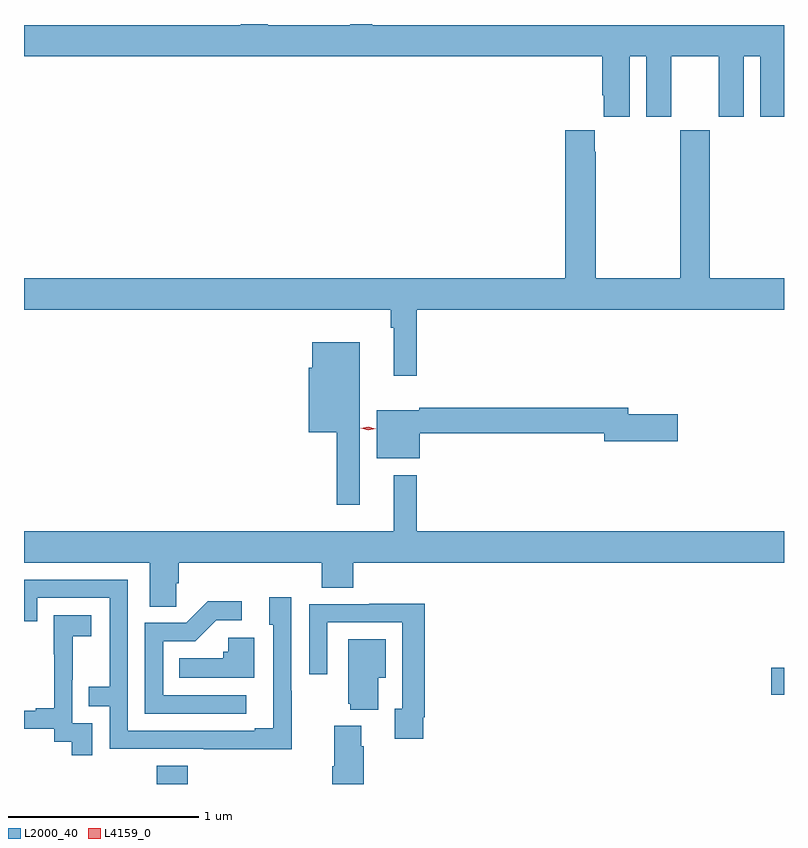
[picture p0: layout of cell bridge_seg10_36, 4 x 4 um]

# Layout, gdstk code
import gdstk
lib = gdstk.Library(unit=1e-6, precision=1e-09)
def R(c, l, rs):  # rectangles x0, y0, x1, y1
    for r in rs: c.add(gdstk.rectangle(r[:2], r[2:], *l))
def P(c, l, *ps):  # polygons
    for p in ps: c.add(gdstk.Polygon(p, *l))
L2000_40 = (2000, 40)
L4159_0 = (4159, 0)

bridge_seg10_36 = lib.new_cell('bridge_seg10_36')
R(bridge_seg10_36, L2000_40, [(938.657,1276.507,938.822,1276.603), (941.892,1276.978,941.959,1277.12)])
P(bridge_seg10_36, L2000_40, [(941.146,1280.336),(941.234,1280.336),(941.234,1280.019),(941.365,1280.019),(941.365,1280.336),(941.615,1280.336),(941.615,1280.019),(941.746,1280.019),(941.746,1280.336),(941.834,1280.336),(941.834,1280.019),(941.959,1280.019),(941.959,1280.5),(939.791,1280.5),(939.791,1280.507),(939.675,1280.507),(939.675,1280.5),(939.241,1280.5),(939.241,1280.507),(939.101,1280.507),(939.101,1280.5),(937.959,1280.5),(937.959,1280.336),(941.003,1280.336),(941.003,1280.131),(941.009,1280.131),(941.009,1280.019),(941.146,1280.019)],
  [(940.027,1279.004),(941.959,1279.004),(941.959,1279.168),(941.568,1279.168),(941.568,1279.948),(941.413,1279.948),(941.413,1279.168),(940.968,1279.168),(940.968,1279.835),(940.963,1279.835),(940.963,1279.948),(940.808,1279.948),(940.808,1279.168),(937.959,1279.168),(937.959,1279.004),(939.888,1279.004),(939.888,1278.908),(939.905,1278.908),(939.905,1278.657),(940.027,1278.657)],
  [(939.727,1278.832),(939.476,1278.832),(939.476,1278.699),(939.458,1278.699),(939.458,1278.359),(939.606,1278.359),(939.606,1277.976),(939.727,1277.976)],
  [(940.042,1278.352),(941.012,1278.352),(941.012,1278.31),(941.401,1278.31),(941.401,1278.452),(941.14,1278.452),(941.14,1278.488),(940.038,1278.488),(940.038,1278.475),(939.815,1278.475),(939.815,1278.221),(940.042,1278.221)],
  [(938.76,1277.563),(938.774,1277.563),(938.774,1277.672),(939.527,1277.672),(939.527,1277.539),(939.692,1277.539),(939.692,1277.672),(941.959,1277.672),(941.959,1277.836),(940.027,1277.836),(940.027,1278.133),(939.905,1278.133),(939.905,1277.836),(937.959,1277.836),(937.959,1277.672),(938.621,1277.672),(938.621,1277.44),(938.76,1277.44)],
  [(939.369,1276.997),(939.366,1276.997),(939.366,1277.491),(939.251,1277.491),(939.251,1277.346),(939.27,1277.346),(939.27,1276.801),(939.173,1276.801),(939.173,1276.788),(938.505,1276.788),(938.505,1277.583),(937.959,1277.583),(937.959,1277.364),(938.028,1277.364),(938.028,1277.487),(938.409,1277.487),(938.409,1277.018),(938.299,1277.018),(938.299,1276.917),(938.409,1276.917),(938.409,1276.692),(938.905,1276.692),(938.905,1276.691),(939.369,1276.691)],
  [(939.13,1276.974),(938.691,1276.974),(938.691,1277.259),(938.86,1277.259),(938.971,1277.37),(939.106,1277.37),(939.106,1277.468),(938.927,1277.468),(938.814,1277.355),(938.595,1277.355),(938.595,1276.878),(939.13,1276.878)],
  [(940.06,1276.858),(940.067,1276.858),(940.067,1277.456),(939.775,1277.456),(939.775,1277.454),(939.459,1277.454),(939.459,1277.085),(939.555,1277.085),(939.555,1277.358),(939.951,1277.358),(939.951,1276.902),(939.911,1276.902),(939.911,1276.746),(940.06,1276.746)],
  [(938.319,1276.827),(938.214,1276.827),(938.214,1277.057),(938.216,1277.057),(938.216,1277.285),(938.314,1277.285),(938.314,1277.395),(938.116,1277.395),(938.116,1277.189),(938.117,1277.189),(938.117,1276.906),(938.021,1276.906),(938.021,1276.893),(937.959,1276.893),(937.959,1276.797),(938.118,1276.797),(938.118,1276.729),(938.211,1276.729),(938.211,1276.659),(938.319,1276.659)],
  [(939.172,1277.278),(939.033,1277.278),(939.033,1277.202),(939.007,1277.202),(939.007,1277.17),(938.776,1277.17),(938.776,1277.066),(939.172,1277.066)],
  [(939.823,1277.066),(939.862,1277.066),(939.862,1277.269),(939.665,1277.269),(939.665,1276.929),(939.677,1276.929),(939.677,1276.898),(939.823,1276.898)],
  [(939.746,1276.706),(939.733,1276.706),(939.733,1276.813),(939.593,1276.813),(939.593,1276.6),(939.581,1276.6),(939.581,1276.507),(939.746,1276.507)])
P(bridge_seg10_36, L4159_0, [(939.77,1278.368),(939.731,1278.379),(939.731,1278.379),(939.731,1278.38),(939.771,1278.388),(939.81,1278.376),(939.81,1278.376),(939.81,1278.376)])

lib.write_gds('bridge_seg10_36.gds')
